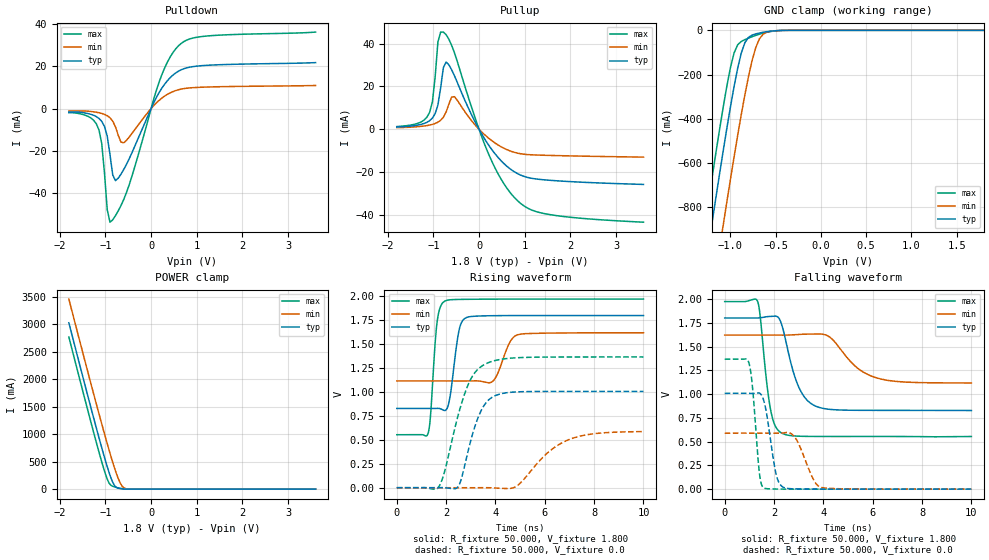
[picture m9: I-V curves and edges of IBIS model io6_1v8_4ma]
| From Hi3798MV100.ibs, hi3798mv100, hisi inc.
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|   Model io6_1v8_4ma
[Model] io6_1v8_4ma
Model_type I/O
Enable   Active-Low
C_comp   3.420pF   3.206pF   3.558pF
C_comp_pullup   1.811pF   1.720pF   1.819pF
C_comp_pulldown   1.442pF   1.363pF   1.537pF
[Temperature Range]   25.000   0.125k   -40.000
[Voltage Range]   1.800V   1.620V   1.970V
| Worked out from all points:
|   slope of the pulldown table from 0 to 0.27 V, typ, clamps not added: 25.2 ohm
|   slope of the pullup table from 0 to 0.27 V, typ, clamps not added: 29.4 ohm
|   GND clamp passes 1 mA (typ) near -0.46 V on its own axis
|   POWER clamp passes 1 mA (typ) near -0.52 V on its own axis
|   rising waveform, R_fixture 50.000, V_fixture 1.800: 20-80 % time 294ps typ, 452ps min, 223ps max; typ from 0.829 V to 1.8 V
|   rising waveform, R_fixture 50.000, V_fixture 0.0: 20-80 % time 695ps typ, 1.45ns min, 881ps max; typ from 0 V to 1.01 V
|   falling waveform, R_fixture 50.000, V_fixture 1.800: 20-80 % time 666ps typ, 1.16ns min, 370ps max; typ from 1.8 V to 0.827 V
|   falling waveform, R_fixture 50.000, V_fixture 0.0: 20-80 % time 358ps typ, 557ps min, 249ps max; typ from 1.01 V to 0 V
[Pulldown]
|Voltage   I(typ)   I(min)   I(max)
-1.8V     -1.645mA   -1.149mA   -1.973mA
-1.32V    -2.713mA   -1.378mA   -4.399mA
-1.14V    -4.677mA   -1.979mA   -10.16mA
-1.08V    -6.072mA   -2.306mA   -16.52mA
-960mV    -13.03mA   -3.392mA   -47.71mA
-900mV    -21.71mA   -4.362mA   -53.59mA
-840mV    -31.31mA   -5.933mA   -52.48mA
-720mV    -32.85mA   -12.55mA   -48.27mA
-600mV    -28.77mA   -16.15mA   -42.92mA
180mV     7.713mA    3.952mA    12.77mA
600mV     17.64mA    8.876mA    29.62mA
3.6V      21.67mA    10.87mA    36.06mA
[Pullup]
|Voltage   I(typ)   I(min)   I(max)
-1.8V     1.004mA    718.1uA    1.244mA
-1.32V    2.034mA    1.25mA     2.913mA
-1.08V    4.02mA     1.956mA    7.949mA
-1.02V    5.228mA    2.269mA    12.82mA
-900mV    11.33mA    3.293mA    40.75mA
-780mV    28.8mA     5.628mA    45.39mA
-720mV    31.41mA    8.037mA    44.19mA
-540mV    25.1mA     15.23mA    35.86mA
180mV     -6.423mA   -3.623mA   -10.09mA
840mV     -20.69mA   -11.15mA   -33.32mA
1.5V      -23.76mA   -12.2mA    -39.69mA
3.6V      -25.78mA   -13.02mA   -43.42mA
[GND_clamp]
|Voltage   I(typ)   I(min)   I(max)
-1.8V     -2.536A    -2.859A    -2.342A
-1.28V    -1.078A    -1.418A    -874.3mA
-1.2V     -860.6mA   -1.2A      -657.1mA
-1.08V    -544.2mA   -880.2mA   -347mA
-1V       -345.8mA   -673mA     -168.1mA
-960mV    -254mA     -572.3mA   -102.3mA
-880mV    -102.3mA   -379.7mA   -50.17mA
-800mV    -31.66mA   -207.5mA   -35.12mA
-720mV    -16.02mA   -77.6mA    -22.87mA
-680mV    -12.07mA   -38.75mA   -17.53mA
-600mV    -6.176mA   -8.568mA   -8.833mA
1.8V      0A         0A         0A
[POWER_clamp]
|Voltage   I(typ)   I(min)   I(max)
-1.8V     3.023A     3.455A     2.765A
-1.2V     1.116A     1.553A     853.2mA
-1.04V    634.5mA    1.064A     382.2mA
-960mV    408.5mA    827mA      182.2mA
-920mV    303.2mA    711.2mA    110.1mA
-880mV    206.7mA    598mA      70.15mA
-800mV    65.13mA    382.9mA    41mA
-760mV    31.99mA    284mA      30.98mA
-680mV    10.64mA    118.3mA    16.27mA
-600mV    3.914mA    26.47mA    6.952mA
-400mV    59.27uA    154.9uA    71.6uA
3.6V      -21.96uA   -120nA     -42.48uA
[Ramp]
| variable   typ   min   max
dV/dt_r   0.604/0.695n   0.352/1.447n   0.820/0.881n
dV/dt_f   0.584/0.666n   0.302/1.181n   0.852/0.369n
R_load = 50.000
[Rising Waveform]
R_fixture= 50.000
V_fixture= 1.800
V_fixture_min= 1.620
V_fixture_max= 1.980
|time   V(typ)   V(min)   V(max)
0s        828.7mV    1.116V     554.2mV
1.26ns    828.5mV    1.116V     561.8mV
1.63ns    829.6mV    1.116V     1.724V
1.938ns   807.2mV    1.116V     1.95V
2.148ns   936.6mV    1.116V     1.964V
2.548ns   1.672V     1.116V     1.969V
2.828ns   1.78V      1.116V     1.97V
3.881ns   1.798V     1.111V     1.972V
4.911ns   1.8V       1.6V       1.972V
10ns      1.8V       1.62V      1.972V
[Rising Waveform]
R_fixture= 50.000
V_fixture= 0.0
V_fixture_min= 0.0
V_fixture_max= 0.0
|time   V(typ)   V(min)   V(max)
0s        302uV      0V         398uV
1.694ns   399.5uV    0V         6.794mV
1.921ns   488.6uV    0V         153.6mV
2.519ns   25.44mV    6.828uV    787.6mV
2.999ns   492.9mV    -25.66uV   1.135V
3.557ns   867.2mV    458.8uV    1.289V
4.79ns    1.001V     6.929mV    1.358V
6.142ns   1.007V     371.2mV    1.366V
7.031ns   1.007V     508.6mV    1.367V
10ns      1.007V     587mV      1.367V
[Falling Waveform]
R_fixture= 50.000
V_fixture= 1.800
V_fixture_min= 1.620
V_fixture_max= 1.980
|time   V(typ)   V(min)   V(max)
0s        1.8V       1.62V      1.972V
1.334ns   1.8V       1.62V      1.974V
1.853ns   1.817V     1.62V      846.4mV
2.033ns   1.819V     1.62V      673.6mV
2.324ns   1.718V     1.62V      588mV
2.956ns   1.102V     1.626V     557.6mV
3.695ns   872.2mV    1.631V     554.3mV
4.231ns   840mV      1.604V     554.1mV
6.048ns   828.7mV    1.179V     554.2mV
10ns      827.1mV    1.117V     553.8mV
[Falling Waveform]
R_fixture= 50.000
V_fixture= 0.0
V_fixture_min= 0.0
V_fixture_max= 0.0
|time   V(typ)   V(min)   V(max)
0s        1.007V     588.8mV    1.367V
983ps     1.007V     589.2mV    1.326V
1.128ns   1.007V     589.2mV    1.068V
1.404ns   1.01V      589.1mV    177.3mV
1.583ns   931.5mV    589.1mV    13.34mV
2.074ns   169mV      588.3mV    1.434mV
2.434ns   13.9mV     593.6mV    653.2uV
2.861ns   2.882mV    540mV      446.5uV
3.921ns   479.3uV    18.69mV    399.2uV
10ns      303.8uV    2.105uV    398uV
